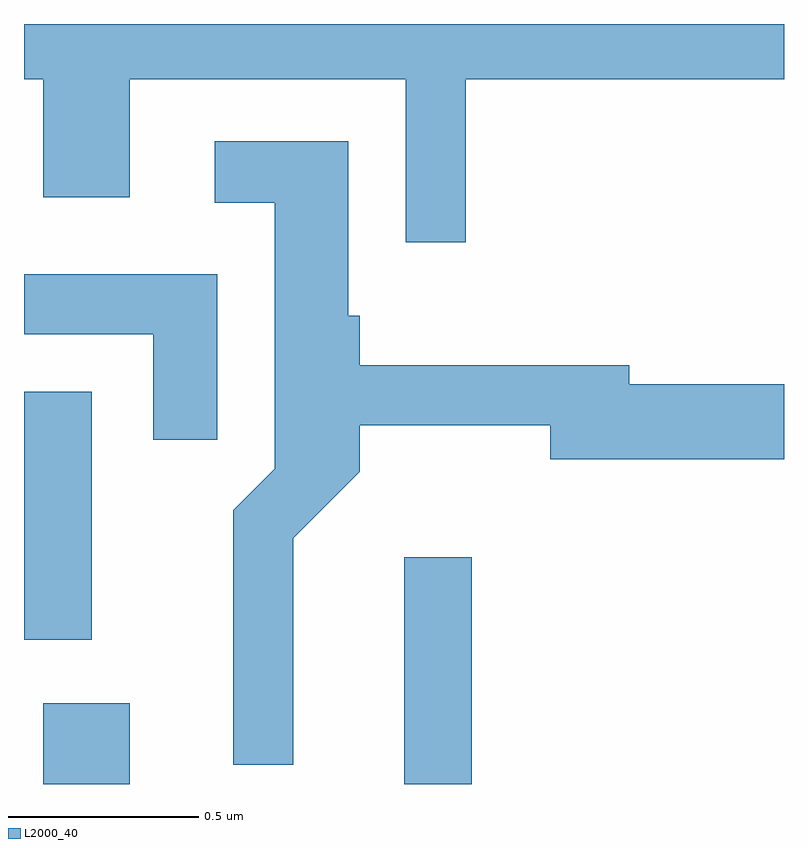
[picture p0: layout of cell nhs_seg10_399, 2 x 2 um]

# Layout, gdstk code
import gdstk
lib = gdstk.Library(unit=1e-6, precision=1e-09)
def R(c, l, rs):  # rectangles x0, y0, x1, y1
    for r in rs: c.add(gdstk.rectangle(r[:2], r[2:], *l))
def P(c, l, *ps):  # polygons
    for p in ps: c.add(gdstk.Polygon(p, *l))
L2000_40 = (2000, 40)

nhs_seg10_399 = lib.new_cell('nhs_seg10_399')
R(nhs_seg10_399, L2000_40, [(187.661,2207.522,187.889,2207.734), (188.611,2207.522,188.789,2208.119), (187.611,2207.901,187.789,2208.554)])
P(nhs_seg10_399, L2000_40, [(188.774,2209.376),(189.611,2209.376),(189.611,2209.522),(187.611,2209.522),(187.611,2209.376),(187.661,2209.376),(187.661,2209.066),(187.889,2209.066),(187.889,2209.376),(188.616,2209.376),(188.616,2208.948),(188.774,2208.948)],
  [(188.319,2208.169),(188.494,2208.344),(188.494,2208.466),(188.996,2208.466),(188.996,2208.376),(189.611,2208.376),(189.611,2208.574),(189.204,2208.574),(189.204,2208.624),(188.494,2208.624),(188.494,2208.754),(188.464,2208.754),(188.464,2209.214),(188.113,2209.214),(188.113,2209.051),(188.271,2209.051),(188.271,2208.352),(188.161,2208.242),(188.161,2207.573),(188.319,2207.573)],
  [(188.119,2208.864),(187.611,2208.864),(187.611,2208.706),(187.951,2208.706),(187.951,2208.428),(188.119,2208.428)])

lib.write_gds('nhs_seg10_399.gds')
